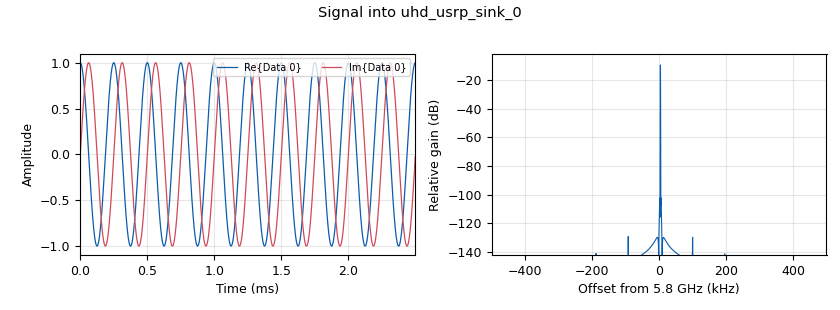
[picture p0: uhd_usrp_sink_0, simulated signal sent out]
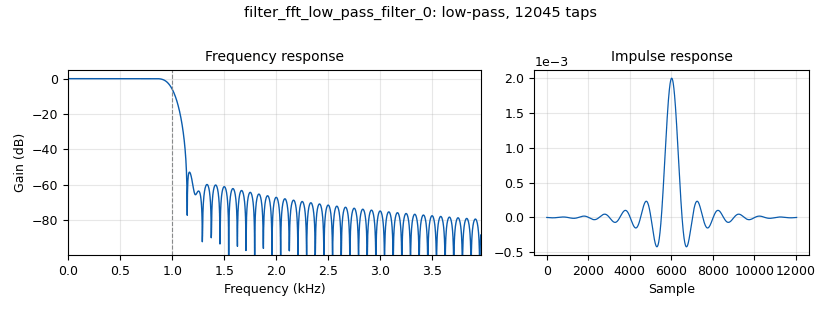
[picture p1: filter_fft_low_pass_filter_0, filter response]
options:
  parameters:
    generate_options: qt_gui
    id: GNUTest
    output_language: python
    title: Not titled yet
  states: {}

blocks:
- name: samp_rate
  id: variable
  parameters:
    value: '1000000'
  states: {}
- name: variable_qtgui_range_0
  id: variable_qtgui_range
  parameters:
    start: '0'
    step: '1'
    stop: '100'
    value: '50'
  states: {}
- name: variable_qtgui_range_1
  id: variable_qtgui_range
  parameters:
    start: '0'
    step: '1'
    stop: '100'
    value: '50'
  states: {}
- name: analog_sig_source_x_0
  id: analog_sig_source_x
  parameters:
    amp: '1'
    freq: '4000'
    offset: '0'
    phase: '0'
    samp_rate: samp_rate
    type: complex
    waveform: analog.GR_COS_WAVE
  states: {}
- name: blocks_complex_to_float_0
  id: blocks_complex_to_float
  parameters: {}
  states: {}
- name: blocks_multiply_conjugate_cc_0
  id: blocks_multiply_conjugate_cc
  parameters: {}
  states: {}
- name: filter_fft_low_pass_filter_0
  id: filter_fft_low_pass_filter
  parameters:
    cutoff_freq: '1000'
    decim: '1'
    gain: '1'
    samp_rate: samp_rate
    type: ccc
    width: '200'
    win: window.WIN_HAMMING
  states: {}
- name: qtgui_sink_x_0
  id: qtgui_sink_x
  parameters:
    bw: '2000'
    fc: '0'
    fftsize: '32768'
    type: complex
  states: {}
- name: qtgui_waterfall_sink_x_1
  id: qtgui_waterfall_sink_x
  parameters:
    bw: samp_rate
    fc: '0'
    fftsize: '1024'
    type: float
  states: {}
- name: qtgui_waterfall_sink_x_1_0
  id: qtgui_waterfall_sink_x
  parameters:
    bw: samp_rate
    fc: '0'
    fftsize: '1024'
    type: float
  states: {}
- name: uhd_usrp_sink_0
  id: uhd_usrp_sink
  parameters:
    ant0: '"TX/RX"'
    center_freq0: '5800000000'
    gain0: variable_qtgui_range_0
    samp_rate: samp_rate
    sync: sync
    type: fc32
  states: {}
- name: uhd_usrp_source_0
  id: uhd_usrp_source
  parameters:
    ant0: '"RX2"'
    center_freq0: '5800000000'
    gain0: variable_qtgui_range_1
    samp_rate: samp_rate
    sync: sync
    type: fc32
  states: {}

connections:
- [analog_sig_source_x_0, '0', blocks_multiply_conjugate_cc_0, '1']
- [analog_sig_source_x_0, '0', uhd_usrp_sink_0, '0']
- [blocks_complex_to_float_0, '0', qtgui_waterfall_sink_x_1, '0']
- [blocks_complex_to_float_0, '1', qtgui_waterfall_sink_x_1_0, '0']
- [blocks_multiply_conjugate_cc_0, '0', filter_fft_low_pass_filter_0, '0']
- [blocks_multiply_conjugate_cc_0, '0', qtgui_sink_x_0, '0']
- [filter_fft_low_pass_filter_0, '0', blocks_complex_to_float_0, '0']
- [uhd_usrp_source_0, '0', blocks_multiply_conjugate_cc_0, '0']

metadata:
  file_format: 1
  grc_version: 3.10.10.0
